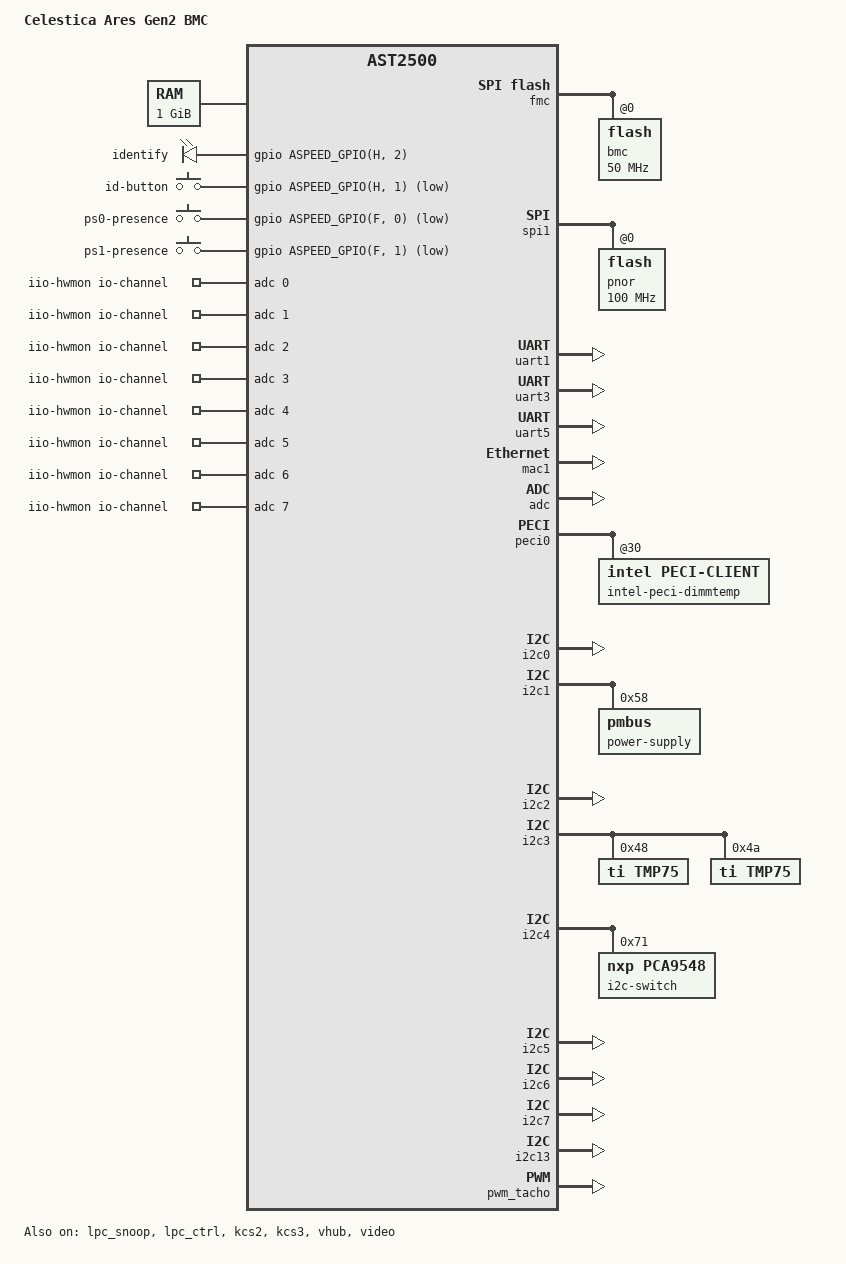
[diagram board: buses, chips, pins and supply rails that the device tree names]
// SPDX-License-Identifier: GPL-2.0+
/dts-v1/;

#include "aspeed-g5.dtsi"
#include <dt-bindings/gpio/aspeed-gpio.h>

/ {
	model = "Celestica Ares Gen2 BMC";
	compatible = "aspeed,ast2500";

	aliases {
		serial4 = &uart5;
        i2c16 = &i2c_pe0;
        i2c17 = &i2c_pe1;
	};

	chosen {
		stdout-path = &uart5;
		bootargs = "console=tty0 console=ttyS4,115200 earlyprintk";
	};

	memory@80000000 {
		reg = <0x80000000 0x40000000>;
	};

	reserved-memory {
		#address-cells = <1>;
		#size-cells = <1>;
		ranges;

		vga_memory: framebuffer@9f000000 {
			no-map;
			reg = <0x9f000000 0x01000000>; /* 16M */
		};

		video_engine_memory: jpegbuffer {
			size = <0x02000000>;	/* 32M */
			alignment = <0x01000000>;
			compatible = "shared-dma-pool";
			reusable;
		};
	};

    leds {
        compatible = "gpio-leds";
        identify {
            gpios = <&gpio ASPEED_GPIO(H, 2) GPIO_ACTIVE_HIGH>;
        };
    };

	gpio-keys {
		compatible = "gpio-keys";
		id-button {
			label = "id-button";
			gpios = <&gpio ASPEED_GPIO(H, 1) GPIO_ACTIVE_LOW>;
			linux,code = <ASPEED_GPIO(H, 1)>;
		};

        ps0-presence {
            label = "ps0-presence";
            gpios = <&gpio ASPEED_GPIO(F, 0) GPIO_ACTIVE_LOW>;
            linux,code = <ASPEED_GPIO(F, 0)>;
        };

        ps1-presence {
            label = "ps1-presence";
            gpios = <&gpio ASPEED_GPIO(F, 1) GPIO_ACTIVE_LOW>;
            linux,code = <ASPEED_GPIO(F, 1)>;
        };
	};

	iio-hwmon {
		compatible = "iio-hwmon";
		io-channels = <&adc 0>, <&adc 1>, <&adc 2>, <&adc 3>,
			<&adc 4>, <&adc 5>, <&adc 6>, <&adc 7>,
			<&adc 8>, <&adc 9>, <&adc 10>, <&adc 11>,
			<&adc 12>, <&adc 13>, <&adc 14>, <&adc 15>;
	};
};

&fmc {
	status = "okay";
	flash@0 {
		status = "okay";
		m25p,fast-read;
		label = "bmc";
		spi-max-frequency = <50000000>;
#include "openbmc-flash-layout-64.dtsi"
	};
};

&spi1 {
	status = "okay";
	flash@0 {
		status = "okay";
		m25p,fast-read;
		label = "pnor";
		spi-max-frequency = <100000000>;
	};
};

&uart1 {
	status = "okay";
};

&uart3 {
	status = "okay";
};

&uart5 {
	status = "okay";
};

&mac0 {
	status = "disabled";

	pinctrl-names = "default";
	pinctrl-0 = <&pinctrl_rmii1_default>;
	clocks = <&syscon ASPEED_CLK_GATE_MAC1CLK>,
		 <&syscon ASPEED_CLK_MAC1RCLK>;
	clock-names = "MACCLK", "RCLK";
	use-ncsi;
};

&mac1 {
	status = "okay";

	pinctrl-names = "default";
	pinctrl-0 = <&pinctrl_rmii2_default>;
	clocks = <&syscon ASPEED_CLK_GATE_MAC2CLK>,
		 <&syscon ASPEED_CLK_MAC2RCLK>;
	clock-names = "MACCLK", "RCLK";
	use-ncsi;
};

&lpc_snoop {
	status = "okay";
	snoop-ports = <0x80>;
};

&lpc_ctrl {
	// Enable lpc clock
	status = "okay";
};

&kcs2 {
	// BMC KCS channel 2
	status = "okay";
	aspeed,lpc-io-reg = <0xca8>;
};

&kcs3 {
	// BMC KCS channel 3
	status = "okay";
	aspeed,lpc-io-reg = <0xca2>;
};

&gpio {
    status = "okay";
	gpio-line-names =
	/*A0-A7*/	"","","","","","","","",
	/*B0-B7*/	"","","","","","","","",
	/*C0-C7*/	"","","","","","","","",
	/*D0-D7*/	"","","","","","","","",
	/*E0-E7*/	"POWER_BUTTON","POWER_OUT","","","","","","",
	/*F0-F7*/	"","","","","","","","",
	/*G0-G7*/	"","","","","","","","",
	/*H0-H7*/	"","","","","","","","",
	/*I0-I7*/	"","","","","","","","",
	/*J0-J7*/	"","PS_PWROK","","","","","","",
	/*K0-K7*/	"","","","","","","","",
	/*L0-L7*/	"","","","","","","","",
	/*M0-M7*/	"","","","","","","","",
	/*N0-N7*/	"","","","","","","","",
	/*O0-O7*/	"","","","","","","","",
	/*P0-P7*/	"","","","","","","","",
	/*Q0-Q7*/	"","","","","","","","",
	/*R0-R7*/	"","","","","","","","",
	/*S0-S7*/	"","","","","","","","",
	/*T0-T7*/	"","","","","","","","",
	/*U0-U7*/	"","","","","","","","",
	/*V0-V7*/	"","","","","","","","",
	/*W0-W7*/	"","","","","","","","",
	/*X0-X7*/	"","","","","","","","",
	/*Y0-Y7*/	"","","","","","","","",
	/*Z0-Z7*/	"","","","","","","","",
	/*AA0-AA7*/	"RESET_OUT","","","","","","","POST_COMPLETE",
	/*AB0-AB7*/	"","","","","","","","",
	/*AC0-AC7*/	"","","","","","","","";
};

&adc {
    status = "okay";
};

&peci0 {
    status = "okay";

    intel-peci-dimmtemp@30 {
        compatible = "intel,peci-client";
        reg = <0x30>;
        status = "okay";
    };
};

&i2c0 {
	status = "okay";
};

&i2c1 {
	status = "okay";

    power-supply@58 {
        compatible = "pmbus";
        reg = <0x58>;
    };
};

&i2c2 {
	status = "okay";
};

&i2c3 {
	status = "okay";

     tmp75@48 {
         compatible = "ti,tmp75";
         reg = <0x48>;
     };
 
     tmp75@4a {
         compatible = "ti,tmp75";
         reg = <0x4a>;
     };
};

&i2c4 {
	status = "okay";
    i2c-switch@71 {
        compatible = "nxp,pca9548";
        reg = <0x71>;
        #address-cells = <1>;
        #size-cells = <0>;
        i2c-mux-idle-disconnect;

        i2c_pe0: i2c@0 {
            #address-cells = <1>;
            #size-cells = <0>;
            reg = <0>;
        };
        i2c_pe1: i2c@1 {
            #address-cells = <1>;
            #size-cells = <0>;
            reg = <1>;
        };
    };
};

&i2c5 {
	status = "okay";
};

&i2c6 {
	status = "okay";
};

&i2c7 {
	status = "okay";
};

&i2c13 {
	status = "okay";
};

/*
 * Enable port A as device (via the virtual hub) and port B as
 * host by default on the eval board. This can be easily changed
 * by replacing the override below with &ehci0 { ... } to enable
 * host on both ports.
 */
&vhub {
	status = "okay";
};

&video {
	status = "okay";
	memory-region = <&video_engine_memory>;
};

&pwm_tacho {
	status = "okay";
	pinctrl-names = "default";
	pinctrl-0 = <&pinctrl_pwm0_default &pinctrl_pwm1_default>;
	fan@0 {
		reg = <0x00>;
		aspeed,fan-tach-ch = /bits/ 8 <0x01>;
	};

	fan@1 {
		reg = <0x00>;
		aspeed,fan-tach-ch = /bits/ 8 <0x01>;
	};

	fan@2 {
		reg = <0x00>;
		aspeed,fan-tach-ch = /bits/ 8 <0x02>;
	};

	fan@3 {
		reg = <0x01>;
		aspeed,fan-tach-ch = /bits/ 8 <0x03>;
	};

	fan@4 {
		reg = <0x01>;
		aspeed,fan-tach-ch = /bits/ 8 <0x04>;
	};

	fan@5 {
		reg = <0x01>;
		aspeed,fan-tach-ch = /bits/ 8 <0x05>;
	};
};
